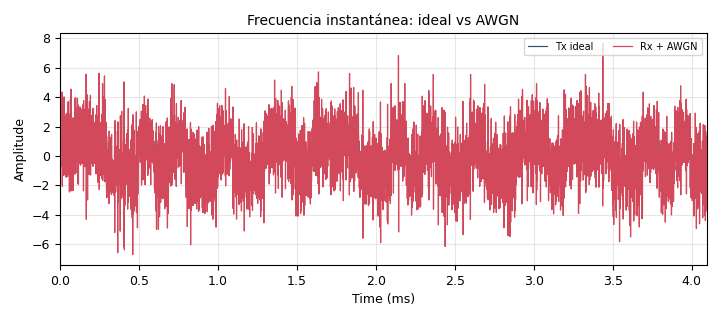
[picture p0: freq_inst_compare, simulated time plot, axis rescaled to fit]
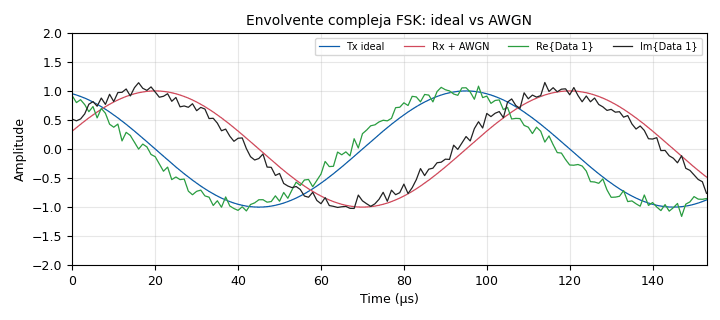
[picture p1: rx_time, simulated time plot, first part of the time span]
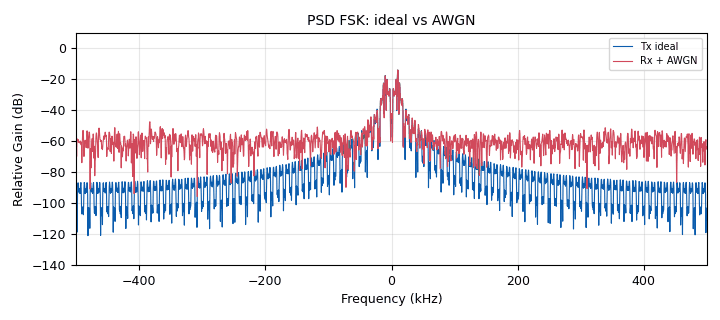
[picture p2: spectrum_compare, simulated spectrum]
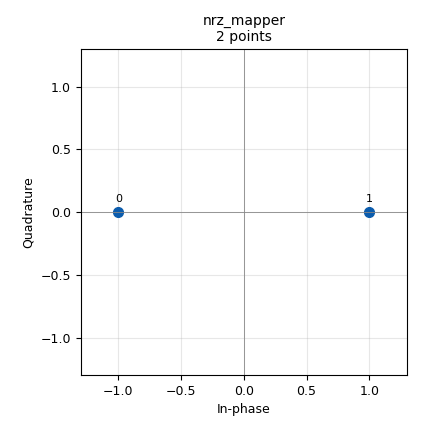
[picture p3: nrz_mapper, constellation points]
options:
  parameters:
    author: Grupo 6 - Juan Pablo Moreno Peña; Juan David Ruiz Higuera
    comment: 'FSK con ruido AWGN: envolvente compleja, PSD y frecuencia instantanea'
    description: Copia del GRC base del selector. Sólo se modifican fsk_deviation y noise_voltage (Rs = 10 kBd, SPS = 100, fs = 1 MS/s fijos).
    generate_options: qt_gui
    id: G6_Modulacion_FSK_AWGN_S5
    output_language: python
    title: 'Grupo 6 - S5 BFSK: plan de pruebas sobre Modulacion_FSK_AWGN.grc'
  states: {}

blocks:
- name: fsk_deviation
  id: variable_qtgui_range
  parameters:
    label: Desviación FSK Δf (Hz) · ref/suave 5k · media 10k · fuerte 20k
    start: '1000'
    step: '1000'
    stop: '40000'
    value: '10000'
  states: {}
- name: noise_voltage
  id: variable_qtgui_range
  parameters:
    label: noise_voltage · ref 0 · suave 0.05 · media 0.10 · fuerte 0.20
    start: '0.0'
    step: '0.01'
    stop: '1.0'
    value: '0.1'
  states: {}
- name: samp_rate
  id: variable
  parameters:
    value: 1e6
  states: {}
- name: sps
  id: variable
  parameters:
    value: '100'
  states: {}
- name: symbol_rate
  id: variable
  parameters:
    value: samp_rate/sps
  states: {}
- name: bit_source
  id: blocks_vector_source_x
  parameters:
    repeat: 'True'
    type: byte
    vector: '[0,1,0,0,1,1,0,1,1,1,0,0,1,0,1,0]'
  states: {}
- name: channel_awgn
  id: channels_channel_model
  parameters:
    block_tags: 'True'
    epsilon: '1.0'
    freq_offset: '0.0'
    noise_voltage: noise_voltage
    seed: '0'
    taps: 1.0 + 0.0j
  states: {}
- name: freq_inst_compare
  id: qtgui_time_sink_x
  parameters:
    grid: 'True'
    gui_hint: 1,0,1,1
    label1: Tx ideal
    label2: Rx + AWGN
    name: '"Frecuencia instantánea: ideal vs AWGN"'
    nconnections: '2'
    size: '4096'
    srate: samp_rate
    type: float
    ymax: '2'
    ymin: '-2'
  states: {}
- name: fsk_demod_rx
  id: analog_quadrature_demod_cf
  parameters:
    gain: samp_rate/(2*math.pi*fsk_deviation)
  states: {}
- name: fsk_demod_tx
  id: analog_quadrature_demod_cf
  parameters:
    gain: samp_rate/(2*math.pi*fsk_deviation)
  states: {}
- name: fsk_modulator
  id: analog_frequency_modulator_fc
  parameters:
    sensitivity: 2*math.pi*fsk_deviation/samp_rate
  states: {}
- name: nrz_mapper
  id: digital_chunks_to_symbols_xx
  parameters:
    dimension: '1'
    in_type: byte
    out_type: float
    symbol_table: '[-1.0, 1.0]'
  states: {}
- name: rx_time
  id: qtgui_time_sink_x
  parameters:
    grid: 'True'
    gui_hint: 1,1,1,1
    label1: Tx ideal
    label2: Rx + AWGN
    label3: ''
    label4: ''
    name: '"Envolvente compleja FSK: ideal vs AWGN"'
    nconnections: '2'
    size: '4096'
    srate: samp_rate
    type: complex
    ymax: '2'
    ymin: '-2'
  states: {}
- name: spectrum_compare
  id: qtgui_freq_sink_x
  parameters:
    bw: samp_rate
    fc: '0'
    fftsize: '2048'
    grid: 'True'
    gui_hint: 0,0,1,2
    label1: Tx ideal
    label2: Rx + AWGN
    name: '"PSD FSK: ideal vs AWGN"'
    nconnections: '2'
    type: complex
  states: {}
- name: symbol_repeat
  id: blocks_repeat
  parameters:
    interp: sps
    type: float
  states: {}
- name: throttle
  id: blocks_throttle2
  parameters:
    samples_per_second: samp_rate
    type: complex
  states: {}
- name: Rb
  id: variable
  parameters:
    comment: Rb = Rs
    value: symbol_rate
  states: {}
- name: h_fsk
  id: variable
  parameters:
    comment: h = 2Δf/Rs
    value: 2*fsk_deviation/symbol_rate
  states: {}
- name: carson_bw
  id: variable
  parameters:
    comment: BW Carson
    value: 2*(fsk_deviation + Rb/2)
  states: {}
- name: EbN0_dB
  id: variable
  parameters:
    comment: Eb/N0 del canal
    value: 10*math.log10(samp_rate/(Rb*noise_voltage**2)) if noise_voltage > 0 else 99
  states: {}
- name: import_math
  id: import
  parameters:
    imports: import math
  states: {}

connections:
- [bit_source, '0', nrz_mapper, '0']
- [channel_awgn, '0', fsk_demod_rx, '0']
- [channel_awgn, '0', rx_time, '1']
- [channel_awgn, '0', spectrum_compare, '1']
- [fsk_demod_rx, '0', freq_inst_compare, '1']
- [fsk_demod_tx, '0', freq_inst_compare, '0']
- [fsk_modulator, '0', throttle, '0']
- [nrz_mapper, '0', symbol_repeat, '0']
- [symbol_repeat, '0', fsk_modulator, '0']
- [throttle, '0', channel_awgn, '0']
- [throttle, '0', fsk_demod_tx, '0']
- [throttle, '0', rx_time, '0']
- [throttle, '0', spectrum_compare, '0']

metadata:
  file_format: 1
  grc_version: 3.10.12.0
